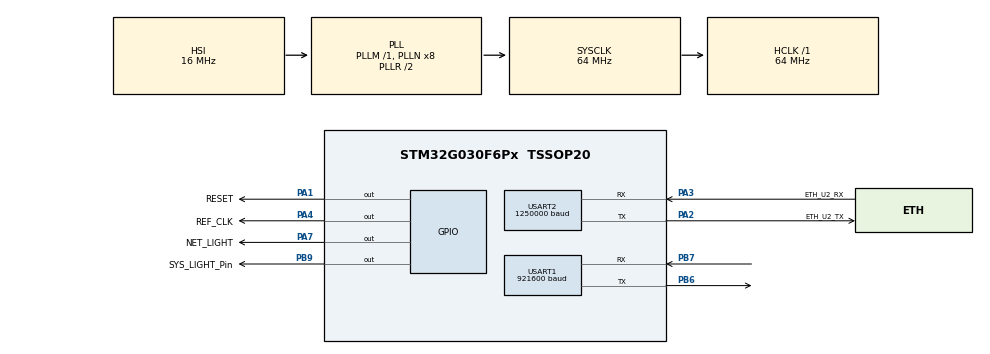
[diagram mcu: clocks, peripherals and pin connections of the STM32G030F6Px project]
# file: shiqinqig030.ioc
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Dma.Request0=USART2_TX
Dma.Request1=USART1_RX
Dma.Request2=USART2_RX
Dma.Request3=USART1_TX
Dma.USART1_RX.1.Direction=DMA_PERIPH_TO_MEMORY
Dma.USART1_RX.1.EventEnable=DISABLE
Dma.USART1_RX.1.Instance=DMA1_Channel1
Dma.USART1_RX.1.MemDataAlignment=DMA_MDATAALIGN_BYTE
Dma.USART1_RX.1.MemInc=DMA_MINC_ENABLE
Dma.USART1_RX.1.Mode=DMA_CIRCULAR
Dma.USART1_RX.1.PeriphDataAlignment=DMA_PDATAALIGN_BYTE
Dma.USART1_RX.1.PeriphInc=DMA_PINC_DISABLE
Dma.USART1_RX.1.Polarity=HAL_DMAMUX_REQ_GEN_RISING
Dma.USART1_RX.1.Priority=DMA_PRIORITY_LOW
Dma.USART1_RX.1.RequestNumber=1
Dma.USART1_RX.1.SignalID=NONE
Dma.USART1_RX.1.SyncEnable=DISABLE
Dma.USART1_RX.1.SyncPolarity=HAL_DMAMUX_SYNC_NO_EVENT
Dma.USART1_RX.1.SyncRequestNumber=1
Dma.USART1_RX.1.SyncSignalID=NONE
Dma.USART1_TX.3.Direction=DMA_MEMORY_TO_PERIPH
Dma.USART1_TX.3.EventEnable=DISABLE
Dma.USART1_TX.3.Instance=DMA1_Channel4
Dma.USART1_TX.3.MemDataAlignment=DMA_MDATAALIGN_BYTE
Dma.USART1_TX.3.MemInc=DMA_MINC_ENABLE
Dma.USART1_TX.3.Mode=DMA_NORMAL
Dma.USART1_TX.3.PeriphDataAlignment=DMA_PDATAALIGN_BYTE
Dma.USART1_TX.3.PeriphInc=DMA_PINC_DISABLE
Dma.USART1_TX.3.Polarity=HAL_DMAMUX_REQ_GEN_RISING
Dma.USART1_TX.3.Priority=DMA_PRIORITY_LOW
Dma.USART1_TX.3.RequestNumber=1
Dma.USART1_TX.3.SignalID=NONE
Dma.USART1_TX.3.SyncEnable=DISABLE
Dma.USART1_TX.3.SyncPolarity=HAL_DMAMUX_SYNC_NO_EVENT
Dma.USART1_TX.3.SyncRequestNumber=1
Dma.USART1_TX.3.SyncSignalID=NONE
Dma.USART2_RX.2.Direction=DMA_PERIPH_TO_MEMORY
Dma.USART2_RX.2.EventEnable=DISABLE
Dma.USART2_RX.2.Instance=DMA1_Channel3
Dma.USART2_RX.2.MemDataAlignment=DMA_MDATAALIGN_BYTE
Dma.USART2_RX.2.MemInc=DMA_MINC_ENABLE
Dma.USART2_RX.2.Mode=DMA_NORMAL
Dma.USART2_RX.2.PeriphDataAlignment=DMA_PDATAALIGN_BYTE
Dma.USART2_RX.2.PeriphInc=DMA_PINC_DISABLE
Dma.USART2_RX.2.Polarity=HAL_DMAMUX_REQ_GEN_RISING
Dma.USART2_RX.2.Priority=DMA_PRIORITY_LOW
Dma.USART2_RX.2.RequestNumber=1
Dma.USART2_RX.2.SignalID=NONE
Dma.USART2_RX.2.SyncEnable=DISABLE
Dma.USART2_RX.2.SyncPolarity=HAL_DMAMUX_SYNC_NO_EVENT
Dma.USART2_RX.2.SyncRequestNumber=1
Dma.USART2_RX.2.SyncSignalID=NONE
Dma.USART2_TX.0.Direction=DMA_MEMORY_TO_PERIPH
Dma.USART2_TX.0.EventEnable=DISABLE
Dma.USART2_TX.0.Instance=DMA1_Channel2
Dma.USART2_TX.0.MemDataAlignment=DMA_MDATAALIGN_BYTE
Dma.USART2_TX.0.MemInc=DMA_MINC_ENABLE
Dma.USART2_TX.0.Mode=DMA_NORMAL
Dma.USART2_TX.0.PeriphDataAlignment=DMA_PDATAALIGN_BYTE
Dma.USART2_TX.0.PeriphInc=DMA_PINC_DISABLE
Dma.USART2_TX.0.Polarity=HAL_DMAMUX_REQ_GEN_RISING
Dma.USART2_TX.0.Priority=DMA_PRIORITY_LOW
Dma.USART2_TX.0.RequestNumber=1
Dma.USART2_TX.0.SignalID=NONE
Dma.USART2_TX.0.SyncEnable=DISABLE
Dma.USART2_TX.0.SyncPolarity=HAL_DMAMUX_SYNC_NO_EVENT
Dma.USART2_TX.0.SyncRequestNumber=1
Dma.USART2_TX.0.SyncSignalID=NONE
Mcu.Family=STM32G0
Mcu.Name=STM32G030F6Px
Mcu.Package=TSSOP20
NVIC.DMA1_Ch4_5_DMAMUX1_OVR_IRQn=true\:0\:0\:false\:false\:true\:false\:true
NVIC.DMA1_Channel1_IRQn=true\:0\:0\:false\:true\:true\:4\:false\:true
NVIC.DMA1_Channel2_3_IRQn=true\:0\:0\:false\:true\:true\:3\:false\:true
NVIC.USART1_IRQn=true\:1\:0\:true\:true\:true\:1\:true\:true
NVIC.USART2_IRQn=true\:0\:0\:true\:true\:true\:2\:true\:true
PA1.GPIO_Label=RESET
PA1.PinState=GPIO_PIN_SET
PA1.Signal=GPIO_Output
PA13.Mode=Serial_Wire
PA13.Signal=SYS_SWDIO
PA14-BOOT0.Mode=Serial_Wire
PA14-BOOT0.Signal=SYS_SWCLK
PA2.GPIO_Label=ETH_U2_TX
PA2.Mode=Asynchronous
PA2.Signal=USART2_TX
PA3.GPIO_Label=ETH_U2_RX
PA3.Mode=Asynchronous
PA3.Signal=USART2_RX
PA4.GPIO_Label=REF_CLK
PA4.PinState=GPIO_PIN_SET
PA4.Signal=GPIO_Output
PA7.GPIO_Label=NET_LIGHT
PA7.PinState=GPIO_PIN_SET
PA7.Signal=GPIO_Output
PB6.Mode=Asynchronous
PB6.Signal=USART1_TX
PB7.Mode=Asynchronous
PB7.Signal=USART1_RX
PB9.GPIO_Label=SYS_LIGHT_Pin
PB9.PinState=GPIO_PIN_SET
PB9.Signal=GPIO_Output
ProjectManager.HeapSize=0x200
ProjectManager.StackSize=0x400
ProjectManager.TargetToolchain=MDK-ARM V5.27
RCC.ADCFreq_Value=64000000
RCC.AHBFreq_Value=64000000
RCC.CortexFreq_Value=64000000
RCC.EXTERNAL_CLOCK_VALUE=12288000
RCC.HCLKFreq_Value=64000000
RCC.HSE_VALUE=8000000
RCC.HSI_VALUE=16000000
RCC.LSE_VALUE=32768
RCC.SYSCLKFreq_VALUE=64000000
RCC.SYSCLKSource=RCC_SYSCLKSOURCE_PLLCLK
RCC.VCOOutputFreq_Value=128000000
USART1.BaudRate=921600
USART1.VirtualMode-Asynchronous=VM_ASYNC
USART2.BaudRate=1250000
USART2.VirtualMode-Asynchronous=VM_ASYNC
board=custom

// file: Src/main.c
/* USER CODE BEGIN Header */
/**
  ******************************************************************************
  * @file           : main.c
  * @brief          : Main program body
  ******************************************************************************
  * @attention
  *
  * <h2><center>&copy; Copyright (c) 2021 STMicroelectronics.
  * All rights reserved.</center></h2>
  *
  * This software component is licensed by ST under BSD 3-Clause license,
  * the "License"; You may not use this file except in compliance with the
  * License. You may obtain a copy of the License at:
  *                        opensource.org/licenses/BSD-3-Clause
  *
  ******************************************************************************
  */
/* USER CODE END Header */

#include "main.h"
#include "dma.h"
#include "usart.h"
#include "gpio.h"

/* USER CODE BEGIN Includes */
#include  "shiyinqi_hal.h"
#include "bsp_usart1.h"
#include "ether_hal.h"
/* USER CODE END Includes */

void SystemClock_Config(void);
static void MX_NVIC_Init(void);
/* USER CODE BEGIN PFP */
uint32_t  led_tim_count=0;
uint8_t    led_flag=0;
/* USER CODE END PFP */

/* USER CODE BEGIN 0 */
extern uint8_t eth_ack_flag;
 uint32_t eth_ack_count;
/* USER CODE END 0 */

int main(void)
{

  /* MCU Configuration--------------------------------------------------------*/

  /* Reset of all peripherals, Initializes the Flash interface and the Systick. */
  HAL_Init();

  /* Configure the system clock */
  SystemClock_Config();

  /* Initialize all configured peripherals */
  MX_GPIO_Init();
  MX_DMA_Init();
  MX_USART1_UART_Init();
  MX_USART2_UART_Init();

  /* Initialize interrupts */
  MX_NVIC_Init();
  /* USER CODE BEGIN 2 */
//	 reset_ethdevinit();
			 HAL_GPIO_WritePin(SYS_LIGHT_Pin_GPIO_Port, SYS_LIGHT_Pin_Pin,GPIO_PIN_RESET);
				HAL_GPIO_WritePin(NET_LIGHT_GPIO_Port, NET_LIGHT_Pin,GPIO_PIN_RESET);
    ETH_Rst();
   ETH_DMA_START();
	   led_flag=1;
//   eth_at_open(); //进入AT模式
// 	 while(eth_init()!=1);
	//printf("123");
  Init_Dev_Param();
//while( eth_ring_net_in()!=1)   //接入服务器
//	 {
//
//
//	 }
//    while(1)
//		{
//        test_flash();
//			HAL_Delay(1000);
//			HAL_Delay(1000);
//		}

		usart1_DMA_START();
	   //printf("1234");
//  shiqinqi_DMA_START();
  /* USER CODE END 2 */

  /* Infinite loop */
  while (1)
  {

    /* USER CODE BEGIN 3 */
		  data_send();
  }
  /* USER CODE END 3 */
}

void SystemClock_Config(void)
{
  RCC_OscInitTypeDef RCC_OscInitStruct = {0};
  RCC_ClkInitTypeDef RCC_ClkInitStruct = {0};
  RCC_PeriphCLKInitTypeDef PeriphClkInit = {0};

  /** Configure the main internal regulator output voltage
  */
  HAL_PWREx_ControlVoltageScaling(PWR_REGULATOR_VOLTAGE_SCALE1);
  /** Initializes the CPU, AHB and APB busses clocks
  */
  RCC_OscInitStruct.OscillatorType = RCC_OSCILLATORTYPE_HSI;
  RCC_OscInitStruct.HSIState = RCC_HSI_ON;
  RCC_OscInitStruct.HSIDiv = RCC_HSI_DIV1;
  RCC_OscInitStruct.HSICalibrationValue = RCC_HSICALIBRATION_DEFAULT;
  RCC_OscInitStruct.PLL.PLLState = RCC_PLL_ON;
  RCC_OscInitStruct.PLL.PLLSource = RCC_PLLSOURCE_HSI;
  RCC_OscInitStruct.PLL.PLLM = RCC_PLLM_DIV1;
  RCC_OscInitStruct.PLL.PLLN = 8;
  RCC_OscInitStruct.PLL.PLLP = RCC_PLLP_DIV2;
  RCC_OscInitStruct.PLL.PLLR = RCC_PLLR_DIV2;
  if (HAL_RCC_OscConfig(&RCC_OscInitStruct) != HAL_OK)
  {
    Error_Handler();
  }
  /** Initializes the CPU, AHB and APB busses clocks
  */
  RCC_ClkInitStruct.ClockType = RCC_CLOCKTYPE_HCLK|RCC_CLOCKTYPE_SYSCLK
                              |RCC_CLOCKTYPE_PCLK1;
  RCC_ClkInitStruct.SYSCLKSource = RCC_SYSCLKSOURCE_PLLCLK;
  RCC_ClkInitStruct.AHBCLKDivider = RCC_SYSCLK_DIV1;
  RCC_ClkInitStruct.APB1CLKDivider = RCC_HCLK_DIV1;

  if (HAL_RCC_ClockConfig(&RCC_ClkInitStruct, FLASH_LATENCY_2) != HAL_OK)
  {
    Error_Handler();
  }
  /** Initializes the peripherals clocks
  */
  PeriphClkInit.PeriphClockSelection = RCC_PERIPHCLK_USART1;
  PeriphClkInit.Usart1ClockSelection = RCC_USART1CLKSOURCE_PCLK1;
  if (HAL_RCCEx_PeriphCLKConfig(&PeriphClkInit) != HAL_OK)
  {
    Error_Handler();
  }
}

/**
  * @brief NVIC Configuration.
  * @retval None
  */
static void MX_NVIC_Init(void)
{
  /* USART1_IRQn interrupt configuration */
  HAL_NVIC_SetPriority(USART1_IRQn, 1, 0);
  HAL_NVIC_EnableIRQ(USART1_IRQn);
  /* USART2_IRQn interrupt configuration */
  HAL_NVIC_SetPriority(USART2_IRQn, 0, 0);
  HAL_NVIC_EnableIRQ(USART2_IRQn);
  /* DMA1_Channel2_3_IRQn interrupt configuration */
  HAL_NVIC_SetPriority(DMA1_Channel2_3_IRQn, 0, 0);
  HAL_NVIC_EnableIRQ(DMA1_Channel2_3_IRQn);
  /* DMA1_Channel1_IRQn interrupt configuration */
  HAL_NVIC_SetPriority(DMA1_Channel1_IRQn, 0, 0);
  HAL_NVIC_EnableIRQ(DMA1_Channel1_IRQn);
}

/* USER CODE BEGIN 4 */
void SysTick_Handler(void)
{
  /* USER CODE BEGIN SysTick_IRQn 0 */

  /* USER CODE END SysTick_IRQn 0 */
  HAL_IncTick();
  /* USER CODE BEGIN SysTick_IRQn 1 */
		    if(led_flag==1)
		{
			led_tim_count++;
			 if(led_tim_count>1000)
			 {

				 led_tim_count=0;
				 HAL_GPIO_TogglePin(SYS_LIGHT_Pin_GPIO_Port, SYS_LIGHT_Pin_Pin);
				 HAL_GPIO_TogglePin(NET_LIGHT_GPIO_Port, NET_LIGHT_Pin);
			 }

		}

			if(eth_ack_flag==1)
	{
		eth_ack_count++;
		if(eth_ack_count>10000)
		{
			eth_ack_flag=2;
			eth_ack_count=0;
		}

	}
	else
	{
		eth_ack_count=0;

	}
  /* USER CODE END SysTick_IRQn 1 */
}
/* USER CODE END 4 */

void Error_Handler(void)
{
}

/************************ (C) COPYRIGHT STMicroelectronics *****END OF FILE****/
